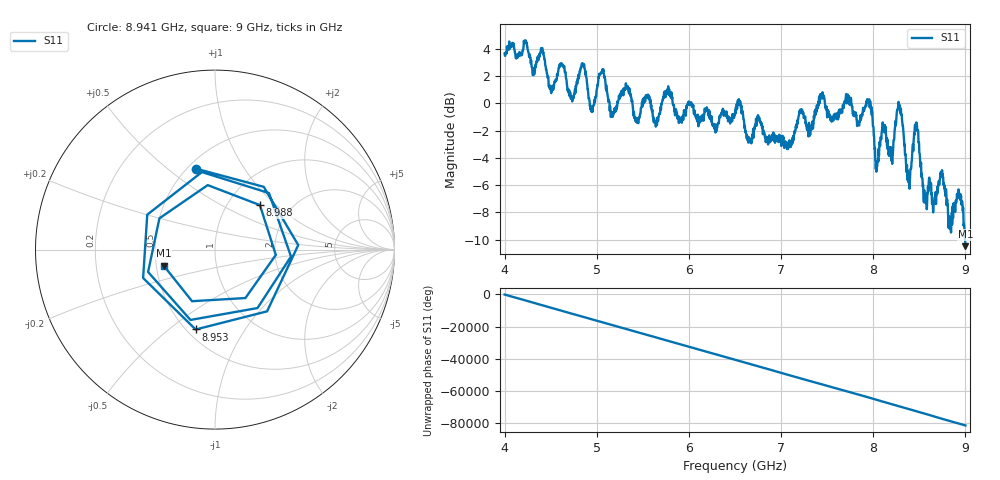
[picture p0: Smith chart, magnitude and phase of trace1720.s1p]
! Created with skrf 1.8.0 (http://scikit-rf.org).
# Hz S RI R 50.0
!freq ReS11 ImS11
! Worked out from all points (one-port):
!   1601 points, 4 GHz to 9 GHz, reference 50 ohm
!   lowest |S11| = -10.5 dB at 9 GHz (marker M1), VSWR 1.85, Z = 27.4 - j5.39 ohm
!   |S11| at or under -10 dB: 8.995822 GHz to end of sweep
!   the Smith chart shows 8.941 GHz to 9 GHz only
!   S11 on the Smith chart (normalised r, x): 8.941 GHz: 0.55, +0.63; 8.953 GHz: 0.55, -0.62; 8.988 GHz: 1.40, +0.80; 9 GHz: 0.55, -0.11
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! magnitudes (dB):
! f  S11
! 4 GHz  3.7
! 4.406 GHz  4.1
! 4.503 GHz  0.9
! 4.625 GHz  2.8
! 4.728 GHz  0.5
! 4.847 GHz  2.8
! 4.947 GHz  -0.6
! 5.05 GHz  2.3
! 5.162 GHz  -0.6
! 5.25 GHz  0.4
! 5.875 GHz  -0.9
! 6.5 GHz  -0.7
! 7.125 GHz  -2.7
! 7.444 GHz  0.7
! 7.75 GHz  0.3
! 7.956 GHz  0.3
! 8.041 GHz  -4.6
! 8.112 GHz  -1.7
! 8.191 GHz  -3.2
! 8.284 GHz  -0.2
! 8.375 GHz  -4.9
! 8.466 GHz  -1.4
! 8.562 GHz  -7.0
! 8.841 GHz  -8.6
! 8.941 GHz  -6.7
! 8.953 GHz  -6.8
! 8.988 GHz  -9.1
! 9 GHz  -10.5
